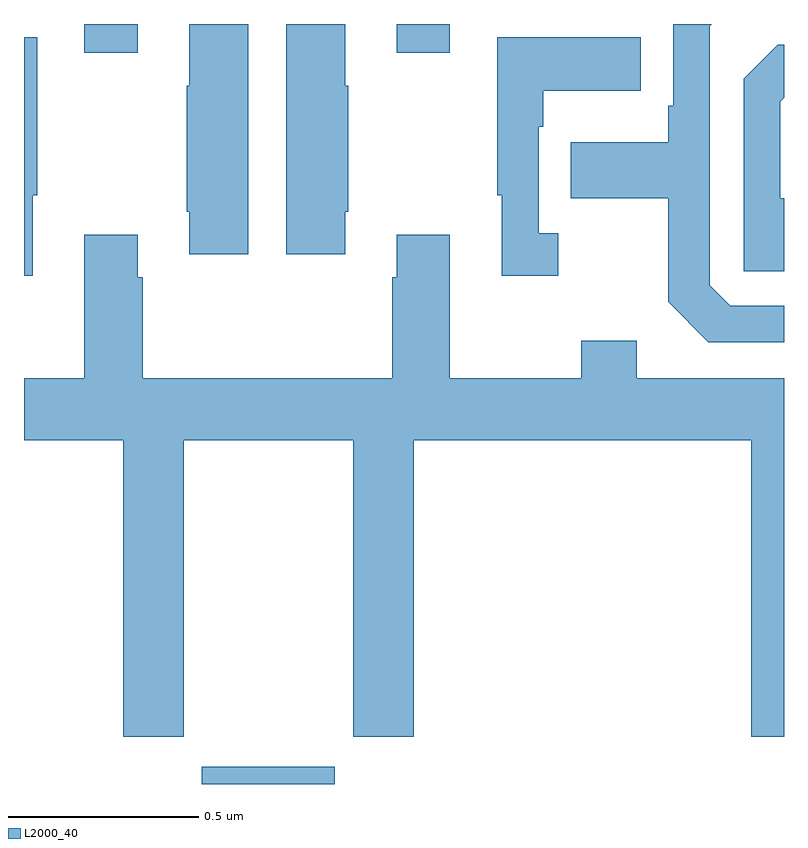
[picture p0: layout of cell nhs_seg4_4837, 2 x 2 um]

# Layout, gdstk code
import gdstk
lib = gdstk.Library(unit=1e-6, precision=1e-09)
def R(c, l, rs):  # rectangles x0, y0, x1, y1
    for r in rs: c.add(gdstk.rectangle(r[:2], r[2:], *l))
def P(c, l, *ps):  # polygons
    for p in ps: c.add(gdstk.Polygon(p, *l))
L2000_40 = (2000, 40)

nhs_seg4_4837 = lib.new_cell('nhs_seg4_4837')
R(nhs_seg4_4837, L2000_40, [(170.468,811.9,170.818,811.945), (170.159,813.825,170.299,813.9), (170.981,813.825,171.121,813.9)])
P(nhs_seg4_4837, L2000_40, [(172,813.159),(171.858,813.159),(171.804,813.213),(171.804,813.894),(171.81,813.9),(171.708,813.9),(171.708,813.685),(171.696,813.685),(171.696,813.589),(171.439,813.589),(171.439,813.442),(171.696,813.442),(171.696,813.169),(171.801,813.063),(172,813.063)],
  [(170.845,813.406),(170.853,813.406),(170.853,813.737),(170.845,813.737),(170.845,813.9),(170.69,813.9),(170.69,813.294),(170.845,813.294)],
  [(170.59,813.9),(170.435,813.9),(170.435,813.737),(170.428,813.737),(170.428,813.406),(170.435,813.406),(170.435,813.294),(170.59,813.294)],
  [(171.406,813.35),(171.354,813.35),(171.354,813.629),(171.367,813.629),(171.367,813.725),(171.623,813.725),(171.623,813.865),(171.246,813.865),(171.246,813.449),(171.257,813.449),(171.257,813.237),(171.406,813.237)],
  [(170.023,813.449),(170.035,813.449),(170.035,813.865),(170,813.865),(170,813.237),(170.023,813.237)],
  [(172,813.442),(171.99,813.442),(171.99,813.696),(172,813.706),(172,813.846),(171.984,813.846),(171.894,813.756),(171.894,813.249),(172,813.249)],
  [(170.421,812.804),(170.866,812.804),(170.866,812.025),(171.026,812.025),(171.026,812.804),(171.914,812.804),(171.914,812.025),(172,812.025),(172,812.968),(171.613,812.968),(171.613,813.067),(171.466,813.067),(171.466,812.968),(171.121,812.968),(171.121,813.346),(170.981,813.346),(170.981,813.233),(170.969,813.233),(170.969,812.968),(170.312,812.968),(170.312,813.233),(170.299,813.233),(170.299,813.346),(170.159,813.346),(170.159,812.968),(170,812.968),(170,812.804),(170.261,812.804),(170.261,812.025),(170.421,812.025)])

lib.write_gds('nhs_seg4_4837.gds')
